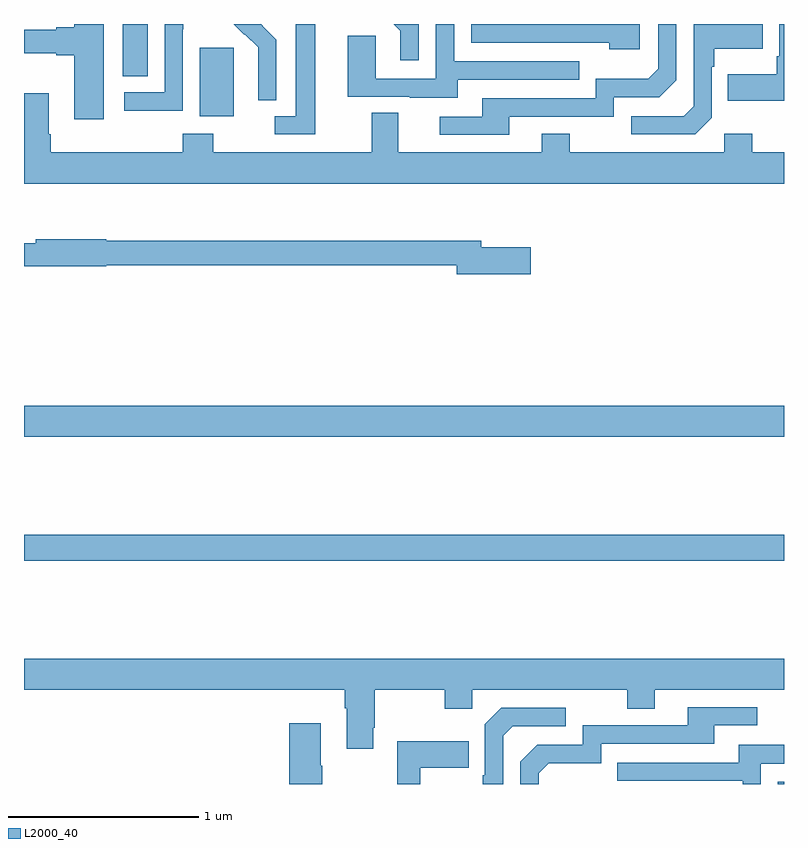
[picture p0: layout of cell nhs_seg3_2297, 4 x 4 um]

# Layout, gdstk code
import gdstk
lib = gdstk.Library(unit=1e-6, precision=1e-09)
def R(c, l, rs):  # rectangles x0, y0, x1, y1
    for r in rs: c.add(gdstk.rectangle(r[:2], r[2:], *l))
def P(c, l, *ps):  # polygons
    for p in ps: c.add(gdstk.Polygon(p, *l))
L2000_40 = (2000, 40)

nhs_seg3_2297 = lib.new_cell('nhs_seg3_2297')
R(nhs_seg3_2297, L2000_40, [(232.968,720.4,233,720.412), (229,721.576,233,721.712), (229,722.228,233,722.392), (229.925,723.914,230.104,724.275), (229.52,724.126,229.651,724.4)])
P(nhs_seg3_2297, L2000_40, [(229.42,724.4),(229.265,724.4),(229.265,724.382),(229.169,724.382),(229.169,724.369),(229,724.369),(229,724.247),(229.169,724.247),(229.169,724.235),(229.265,724.235),(229.265,723.9),(229.42,723.9)],
  [(231.078,724.4),(230.946,724.4),(230.981,724.365),(230.981,724.209),(231.078,724.209)],
  [(230.328,724.318),(230.255,724.391),(230.256,724.392),(230.248,724.4),(230.104,724.4),(230.16,724.344),(230.163,724.347),(230.234,724.277),(230.234,724.154),(230.232,724.154),(230.232,724),(230.328,724)],
  [(230.533,724.4),(230.429,724.4),(230.429,723.915),(230.319,723.915),(230.319,723.819),(230.533,723.819)],
  [(229.836,724.372),(229.839,724.372),(229.839,724.4),(229.74,724.4),(229.74,724.041),(229.527,724.041),(229.527,723.943),(229.836,723.943)],
  [(232.62,723.906),(232.62,724.175),(232.633,724.175),(232.633,724.271),(232.889,724.271),(232.889,724.4),(232.524,724.4),(232.524,723.966),(232.473,723.915),(232.197,723.915),(232.197,723.819),(232.533,723.819)],
  [(231.553,723.912),(232.104,723.912),(232.104,724.014),(232.344,724.014),(232.434,724.104),(232.434,724.4),(232.338,724.4),(232.338,724.164),(232.285,724.111),(232.008,724.111),(232.008,724.008),(231.413,724.008),(231.413,723.912),(231.189,723.912),(231.189,723.816),(231.553,723.816)],
  [(231.283,724.107),(231.923,724.107),(231.923,724.203),(231.264,724.203),(231.264,724.4),(231.168,724.4),(231.168,724.113),(230.85,724.113),(230.85,724.337),(230.705,724.337),(230.705,724.017),(231.029,724.017),(231.029,724.013),(231.283,724.013)],
  [(233,724.4),(232.974,724.4),(232.974,724.231),(232.962,724.231),(232.962,724.135),(232.705,724.135),(232.705,723.995),(233,723.995)],
  [(232.24,724.398),(231.463,724.398),(231.463,724.4),(231.354,724.4),(231.354,724.302),(232.079,724.302),(232.079,724.268),(232.24,724.268)],
  [(233,723.724),(232.833,723.724),(232.833,723.823),(232.686,723.823),(232.686,723.724),(231.873,723.724),(231.873,723.823),(231.725,723.823),(231.725,723.724),(230.971,723.724),(230.971,723.932),(230.831,723.932),(230.831,723.724),(229.995,723.724),(229.995,723.823),(229.835,723.823),(229.835,723.724),(229.142,723.724),(229.142,723.82),(229.129,723.82),(229.129,724.036),(229,724.036),(229,723.56),(233,723.56)],
  [(231.667,723.225),(231.406,723.225),(231.406,723.259),(229.434,723.259),(229.434,723.267),(229.062,723.267),(229.062,723.247),(229,723.247),(229,723.125),(229.434,723.125),(229.434,723.13),(231.278,723.13),(231.278,723.083),(231.667,723.083)],
  [(230.839,720.697),(230.847,720.697),(230.847,720.896),(231.214,720.896),(231.214,720.797),(231.36,720.797),(231.36,720.896),(232.174,720.896),(232.174,720.797),(232.321,720.797),(232.321,720.896),(233,720.896),(233,721.06),(229,721.06),(229,720.896),(230.687,720.896),(230.687,720.8),(230.699,720.8),(230.699,720.585),(230.839,720.585)],
  [(231.708,720.456),(231.761,720.509),(232.038,720.509),(232.038,720.612),(232.633,720.612),(232.633,720.708),(232.858,720.708),(232.858,720.804),(232.493,720.804),(232.493,720.708),(231.942,720.708),(231.942,720.606),(231.702,720.606),(231.612,720.516),(231.612,720.4),(231.708,720.4)],
  [(231.522,720.654),(231.573,720.705),(231.85,720.705),(231.85,720.801),(231.513,720.801),(231.426,720.714),(231.426,720.445),(231.414,720.445),(231.414,720.4),(231.522,720.4)],
  [(230.571,720.497),(230.563,720.497),(230.563,720.721),(230.396,720.721),(230.396,720.4),(230.571,720.4)],
  [(231.085,720.485),(231.341,720.485),(231.341,720.625),(230.964,720.625),(230.964,720.4),(231.085,720.4)],
  [(232.878,720.507),(233,720.507),(233,720.607),(232.763,720.607),(232.763,720.513),(232.123,720.513),(232.123,720.417),(232.782,720.417),(232.782,720.4),(232.878,720.4)])

lib.write_gds('nhs_seg3_2297.gds')
